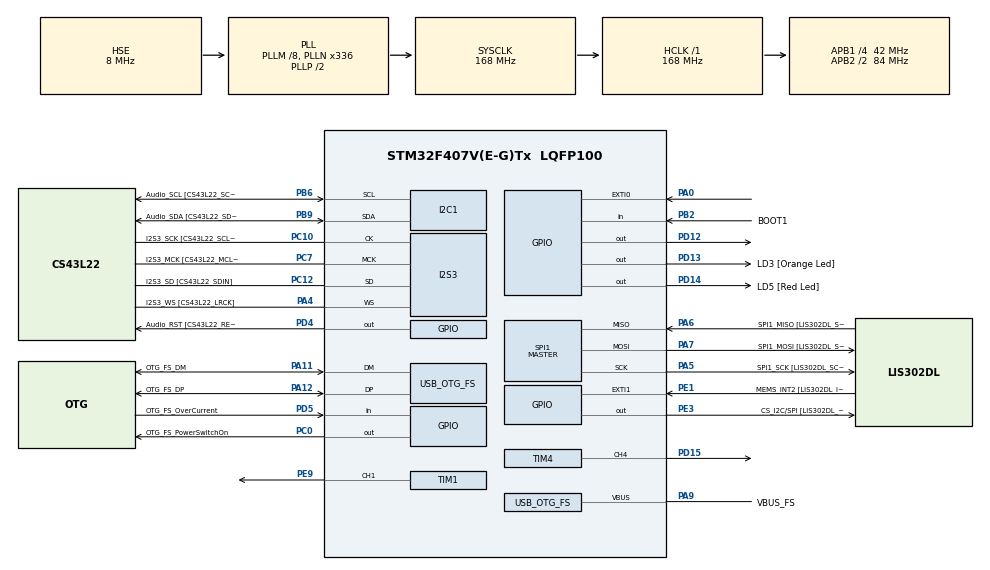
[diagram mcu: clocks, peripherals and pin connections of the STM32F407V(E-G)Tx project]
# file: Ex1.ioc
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Dma.Request0=TIM1_CH1
Dma.TIM1_CH1.0.Direction=DMA_MEMORY_TO_PERIPH
Dma.TIM1_CH1.0.FIFOMode=DMA_FIFOMODE_DISABLE
Dma.TIM1_CH1.0.Instance=DMA2_Stream1
Dma.TIM1_CH1.0.MemDataAlignment=DMA_MDATAALIGN_HALFWORD
Dma.TIM1_CH1.0.MemInc=DMA_MINC_ENABLE
Dma.TIM1_CH1.0.Mode=DMA_NORMAL
Dma.TIM1_CH1.0.PeriphDataAlignment=DMA_PDATAALIGN_HALFWORD
Dma.TIM1_CH1.0.PeriphInc=DMA_PINC_DISABLE
Dma.TIM1_CH1.0.Priority=DMA_PRIORITY_LOW
I2S3.AudioFreq-Half_Duplex_Master=I2S_AUDIOFREQ_96K
I2S3.ErrorAudioFreq=-2.34 %
I2S3.ErrorAudioFreq-Half_Duplex_Master=0.8 %
I2S3.FullDuplexMode=I2S_FULLDUPLEXMODE_DISABLE
I2S3.Instance=SPI$Index
I2S3.RealAudioFreq=93.75 KHz
I2S3.RealAudioFreq-Half_Duplex_Master=96.774 KHz
I2S3.VirtualMode=I2S_MODE_MASTER
Mcu.Family=STM32F4
Mcu.Name=STM32F407V(E-G)Tx
Mcu.Package=LQFP100
NVIC.DMA2_Stream1_IRQn=true\:0\:0\:false\:false\:true\:false\:true\:true
NVIC.EXTI0_IRQn=true\:0\:0\:true\:false\:true\:true\:true\:true
NVIC.OTG_FS_IRQn=true\:0\:0\:false\:false\:true\:true\:true\:true
NVIC.PriorityGroup=NVIC_PRIORITYGROUP_0
NVIC.TIM2_IRQn=true\:0\:0\:true\:false\:true\:true\:true\:true
PA0-WKUP.Signal=GPXTI0
PA10.GPIO_Label=OTG_FS_ID
PA10.GPIO_Mode=GPIO_MODE_AF_PP
PA10.GPIO_PuPd=GPIO_NOPULL
PA10.GPIO_Speed=GPIO_SPEED_FREQ_LOW
PA10.Signal=USB_OTG_FS_ID
PA11.GPIO_Label=OTG_FS_DM
PA11.GPIO_Mode=GPIO_MODE_AF_PP
PA11.GPIO_PuPd=GPIO_NOPULL
PA11.GPIO_Speed=GPIO_SPEED_FREQ_LOW
PA11.Mode=Host_Only
PA11.Signal=USB_OTG_FS_DM
PA12.GPIO_Label=OTG_FS_DP
PA12.GPIO_Mode=GPIO_MODE_AF_PP
PA12.GPIO_PuPd=GPIO_NOPULL
PA12.GPIO_Speed=GPIO_SPEED_FREQ_LOW
PA12.Mode=Host_Only
PA12.Signal=USB_OTG_FS_DP
PA13.GPIO_Label=SWDIO
PA13.Mode=Serial_Wire
PA13.Signal=SYS_JTMS-SWDIO
PA14.GPIO_Label=SWCLK
PA14.Mode=Serial_Wire
PA14.Signal=SYS_JTCK-SWCLK
PA4.GPIO_Label=I2S3_WS [CS43L22_LRCK]
PA4.GPIO_Mode=GPIO_MODE_AF_PP
PA4.GPIO_PuPd=GPIO_NOPULL
PA4.GPIO_Speed=GPIO_SPEED_FREQ_LOW
PA4.Mode=Half_Duplex_Master
PA4.Signal=I2S3_WS
PA5.GPIO_Label=SPI1_SCK [LIS302DL_SCL/SPC]
PA5.GPIO_Mode=GPIO_MODE_AF_PP
PA5.GPIO_PuPd=GPIO_NOPULL
PA5.GPIO_Speed=GPIO_SPEED_FREQ_LOW
PA5.Mode=Full_Duplex_Master
PA5.Signal=SPI1_SCK
PA6.GPIO_Label=SPI1_MISO [LIS302DL_SDO]
PA6.GPIO_Mode=GPIO_MODE_AF_PP
PA6.GPIO_PuPd=GPIO_NOPULL
PA6.GPIO_Speed=GPIO_SPEED_FREQ_LOW
PA6.Mode=Full_Duplex_Master
PA6.Signal=SPI1_MISO
PA7.GPIO_Label=SPI1_MOSI [LIS302DL_SDA/SDI/SDO]
PA7.GPIO_Mode=GPIO_MODE_AF_PP
PA7.GPIO_PuPd=GPIO_NOPULL
PA7.GPIO_Speed=GPIO_SPEED_FREQ_LOW
PA7.Mode=Full_Duplex_Master
PA7.Signal=SPI1_MOSI
PA9.GPIO_Label=VBUS_FS
PA9.GPIO_Mode=GPIO_MODE_INPUT
PA9.GPIO_PuPd=GPIO_NOPULL
PA9.Mode=Activate_VBUS
PA9.Signal=USB_OTG_FS_VBUS
PB10.GPIO_Label=CLK_IN [MP45DT02_CLK]
PB10.GPIO_Mode=GPIO_MODE_AF_PP
PB10.GPIO_PuPd=GPIO_NOPULL
PB10.GPIO_Speed=GPIO_SPEED_FREQ_LOW
PB10.Signal=I2S2_CK
PB2.GPIO_Label=BOOT1
PB2.GPIO_Mode=GPIO_MODE_INPUT
PB2.GPIO_PuPd=GPIO_NOPULL
PB2.Signal=GPIO_Input
PB3.GPIO_Label=SWO
PB3.Signal=SYS_JTDO-SWO
PB6.GPIO_Label=Audio_SCL [CS43L22_SCL]
PB6.GPIO_Mode=GPIO_MODE_AF_OD
PB6.GPIO_Pu=GPIO_PULLUP
PB6.GPIO_PuPd=GPIO_NOPULL
PB6.GPIO_Speed=GPIO_SPEED_FREQ_LOW
PB6.Mode=I2C
PB6.Signal=I2C1_SCL
PB9.GPIO_Label=Audio_SDA [CS43L22_SDA]
PB9.GPIO_Mode=GPIO_MODE_AF_OD
PB9.GPIO_Pu=GPIO_PULLUP
PB9.GPIO_PuPd=GPIO_NOPULL
PB9.GPIO_Speed=GPIO_SPEED_FREQ_LOW
PB9.Mode=I2C
PB9.Signal=I2C1_SDA
PC0.GPIO_Label=OTG_FS_PowerSwitchOn
PC0.GPIO_PuPd=GPIO_NOPULL
PC0.GPIO_Speed=GPIO_SPEED_FREQ_LOW
PC0.PinState=GPIO_PIN_SET
PC0.Signal=GPIO_Output
PC10.GPIO_Label=I2S3_SCK [CS43L22_SCLK]
PC10.GPIO_Mode=GPIO_MODE_AF_PP
PC10.GPIO_PuPd=GPIO_NOPULL
PC10.GPIO_Speed=GPIO_SPEED_FREQ_LOW
PC10.Mode=Half_Duplex_Master
PC10.Signal=I2S3_CK
PC12.GPIO_Label=I2S3_SD [CS43L22_SDIN]
PC12.GPIO_Mode=GPIO_MODE_AF_PP
PC12.GPIO_PuPd=GPIO_NOPULL
PC12.GPIO_Speed=GPIO_SPEED_FREQ_LOW
PC12.Mode=Half_Duplex_Master
PC12.Signal=I2S3_SD
PC14-OSC32_IN.GPIO_Label=PC14-OSC32_IN
PC14-OSC32_IN.Mode=LSE-External-Oscillator
PC14-OSC32_IN.Signal=RCC_OSC32_IN
PC15-OSC32_OUT.GPIO_Label=PC15-OSC32_OUT
PC15-OSC32_OUT.Mode=LSE-External-Oscillator
PC15-OSC32_OUT.Signal=RCC_OSC32_OUT
PC3.GPIO_Label=PDM_OUT [MP45DT02_DOUT]
PC3.GPIO_Mode=GPIO_MODE_AF_PP
PC3.GPIO_PuPd=GPIO_NOPULL
PC3.GPIO_Speed=GPIO_SPEED_FREQ_LOW
PC3.Signal=I2S2_SD
PC7.GPIO_Label=I2S3_MCK [CS43L22_MCLK]
PC7.GPIO_Mode=GPIO_MODE_AF_PP
PC7.GPIO_PuPd=GPIO_NOPULL
PC7.GPIO_Speed=GPIO_SPEED_FREQ_LOW
PC7.Mode=Master_Clock_Activated
PC7.Signal=I2S3_MCK
PD12.Signal=GPIO_Output
PD13.GPIO_Label=LD3 [Orange Led]
PD13.GPIO_PuPd=GPIO_NOPULL
PD13.GPIO_Speed=GPIO_SPEED_FREQ_LOW
PD13.Signal=GPIO_Output
PD14.GPIO_Label=LD5 [Red Led]
PD14.GPIO_PuPd=GPIO_NOPULL
PD14.GPIO_Speed=GPIO_SPEED_FREQ_LOW
PD14.Signal=GPIO_Output
PD15.Signal=S_TIM4_CH4
PD4.GPIO_Label=Audio_RST [CS43L22_RESET]
PD4.GPIO_PuPd=GPIO_NOPULL
PD4.GPIO_Speed=GPIO_SPEED_FREQ_LOW
PD4.Signal=GPIO_Output
PD5.GPIO_Label=OTG_FS_OverCurrent
PD5.GPIO_Mode=GPIO_MODE_INPUT
PD5.GPIO_PuPd=GPIO_NOPULL
PD5.Signal=GPIO_Input
PE1.GPIO_Label=MEMS_INT2 [LIS302DL_INT2]
PE1.GPIO_ModeDefaultEXTI=GPIO_MODE_EVT_RISING
PE1.GPIO_PuPd=GPIO_NOPULL
PE1.Signal=GPXTI1
PE3.GPIO_Label=CS_I2C/SPI [LIS302DL_CS_I2C/SPI]
PE3.GPIO_PuPd=GPIO_NOPULL
PE3.GPIO_Speed=GPIO_SPEED_FREQ_LOW
PE3.Signal=GPIO_Output
PE9.Signal=S_TIM1_CH1
PH0-OSC_IN.GPIO_Label=PH0-OSC_IN
PH0-OSC_IN.Mode=HSE-External-Oscillator
PH0-OSC_IN.Signal=RCC_OSC_IN
PH1-OSC_OUT.GPIO_Label=PH1-OSC_OUT
PH1-OSC_OUT.Mode=HSE-External-Oscillator
PH1-OSC_OUT.Signal=RCC_OSC_OUT
ProjectManager.HeapSize=0x200
ProjectManager.StackSize=0x400
ProjectManager.TargetToolchain=STM32CubeIDE
RCC.48MHZClocksFreq_Value=48000000
RCC.AHBFreq_Value=168000000
RCC.APB1CLKDivider=RCC_HCLK_DIV4
RCC.APB1Freq_Value=42000000
RCC.APB1TimFreq_Value=84000000
RCC.APB2CLKDivider=RCC_HCLK_DIV2
RCC.APB2Freq_Value=84000000
RCC.APB2TimFreq_Value=168000000
RCC.CortexFreq_Value=168000000
RCC.HCLKFreq_Value=168000000
RCC.HSE_VALUE=8000000
RCC.HSI_VALUE=16000000
RCC.PLLM=8
RCC.PLLN=336
RCC.PLLQ=7
RCC.SYSCLKFreq_VALUE=168000000
RCC.SYSCLKSource=RCC_SYSCLKSOURCE_PLLCLK
RCC.VCOOutputFreq_Value=336000000
SH.S_TIM1_CH1.0=TIM1_CH1,PWM Generation1 CH1
SH.S_TIM4_CH4.0=TIM4_CH4,PWM Generation4 CH4
SPI1.BaudRatePrescaler-Full_Duplex_Master=SPI_BAUDRATEPRESCALER_2
SPI1.CalculateBaudRate-Full_Duplex_Master=42.0 MBits/s
SPI1.Direction=SPI_DIRECTION_2LINES
SPI1.Mode=SPI_MODE_MASTER
SPI1.Mode-Full_Duplex_Master=SPI_MODE_MASTER
SPI1.VirtualType=VM_MASTER
TIM1.Channel-PWM\ Generation1\ CH1=TIM_CHANNEL_1
TIM1.Period=100 - 1
TIM1.Prescaler=84 - 1
TIM2.AutoReloadPreload=TIM_AUTORELOAD_PRELOAD_ENABLE
TIM2.Period=10000 - 1
TIM2.Prescaler=8
TIM4.Channel-PWM\ Generation4\ CH4=TIM_CHANNEL_4
TIM4.Period=100-1
TIM4.Prescaler=84-1
USB_HOST.BSP.number=1
USB_HOST.USBH_HandleTypeDef-CDC_FS=hUsbHostFS
USB_HOST.VirtualModeFS=Cdc
USB_HOST0.BSP.STBoard=false
USB_HOST0.BSP.api=Unknown
USB_HOST0.BSP.instance=PC0
USB_HOST0.BSP.ip=GPIO
USB_HOST0.BSP.mode=Output
USB_HOST0.BSP.name=Drive_VBUS_FS
USB_HOST0.BSP.solution=PC0
USB_OTG_FS.VirtualMode=Host_Only
USB_OTG_FS.phy_itface=HCD_PHY_EMBEDDED
VP_TIM1_VS_ClockSourceINT.Mode=Internal
VP_TIM2_VS_ClockSourceINT.Mode=Internal
VP_TIM4_VS_ClockSourceINT.Mode=Internal
VP_USB_HOST_VS_USB_HOST_CDC_FS.Mode=CDC_FS
board=STM32F407G-DISC1

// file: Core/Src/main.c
/* USER CODE BEGIN Header */
/**
  ******************************************************************************
  * @file           : main.c
  * @brief          : Main program body
  ******************************************************************************
  * @attention
  *
  * Copyright (c) 2024 STMicroelectronics.
  * All rights reserved.
  *
  * This software is licensed under terms that can be found in the LICENSE file
  * in the root directory of this software component.
  * If no LICENSE file comes with this software, it is provided AS-IS.
  *
  ******************************************************************************
  */
/* USER CODE END Header */
#include "main.h"
#include "usb_host.h"

/* USER CODE BEGIN Includes */
#include "ex1.h"
#include "ex2.h"
#include "ex3.h"
/* USER CODE END Includes */

I2C_HandleTypeDef hi2c1;

I2S_HandleTypeDef hi2s3;

SPI_HandleTypeDef hspi1;

TIM_HandleTypeDef htim1;
TIM_HandleTypeDef htim2;
TIM_HandleTypeDef htim4;
DMA_HandleTypeDef hdma_tim1_ch1;

void SystemClock_Config(void);
static void MX_GPIO_Init(void);
static void MX_DMA_Init(void);
static void MX_I2C1_Init(void);
static void MX_I2S3_Init(void);
static void MX_SPI1_Init(void);
static void MX_TIM2_Init(void);
static void MX_TIM1_Init(void);
static void MX_TIM4_Init(void);
void MX_USB_HOST_Process(void);

/* USER CODE BEGIN 0 */
uint16_t pwmData[10];
/* USER CODE END 0 */

int main(void)
{

  /* MCU Configuration--------------------------------------------------------*/

  /* Reset of all peripherals, Initializes the Flash interface and the Systick. */
  HAL_Init();

  /* Configure the system clock */
  SystemClock_Config();

  /* USER CODE BEGIN SysInit */
  HAL_Init();
  __HAL_RCC_TIM2_CLK_ENABLE();

  /* USER CODE END SysInit */

  /* Initialize all configured peripherals */
  MX_GPIO_Init();
  MX_DMA_Init();
  MX_I2C1_Init();
  MX_I2S3_Init();
  MX_SPI1_Init();
  MX_USB_HOST_Init();
  MX_TIM2_Init();
  MX_TIM1_Init();
  MX_TIM4_Init();
  /* USER CODE BEGIN 2 */

  //TIM1 ->CCR1 = 10;     // asta o sa fie exact cat e pwm-ul daca punem la configurare counter periodul pe 100-1 pentru ca formula e (CCR1/1000)*100
  //HAL_TIM_PWM_Start(&htim1,TIM_CHANNEL_1);

//  pwmData[0] = 10;
//  pwmData[1] = 20;
//  pwmData[2] = 30;
//  pwmData[3] = 40;
//  pwmData[4] = 50;
//  pwmData[5] = 60;                            /// asta e pentru generare de semnal cu pwm in crestere
//  pwmData[6] = 70;
//  pwmData[7] = 80;
//  pwmData[8] = 90;
//  pwmData[9] = 100;
//
//  HAL_TIM_PWM_Start_DMA(&htim1 , TIM_CHANNEL_1 , (uint32_t *) pwmData , 10);

  HAL_TIM_PWM_Start(&htim4,TIM_CHANNEL_4);

  // Start Timer
  HAL_TIM_Base_Start_IT(&htim2);

////////// functia este cu IT

  /* USER CODE END 2 */

  /* Infinite loop */
  while (1)
  {
    MX_USB_HOST_Process();

    /* USER CODE BEGIN 3 */

    for(int i = 0 ; i <100 ; i++)
    {
    	__HAL_TIM_SET_COMPARE(&htim4 , TIM_CHANNEL_4 , i);
    	HAL_Delay(5);
    }
    for(int i = 100 ; i >0 ; i--)
        {
        	__HAL_TIM_SET_COMPARE(&htim4 , TIM_CHANNEL_4 , i);
        	HAL_Delay(5);
        }

    //ex1();
    //ex2();
    //ex3();

  }
  /* USER CODE END 3 */
}

void SystemClock_Config(void)
{
  RCC_OscInitTypeDef RCC_OscInitStruct = {0};
  RCC_ClkInitTypeDef RCC_ClkInitStruct = {0};

  /** Configure the main internal regulator output voltage
  */
  __HAL_RCC_PWR_CLK_ENABLE();
  __HAL_PWR_VOLTAGESCALING_CONFIG(PWR_REGULATOR_VOLTAGE_SCALE1);

  /** Initializes the RCC Oscillators according to the specified parameters
  * in the RCC_OscInitTypeDef structure.
  */
  RCC_OscInitStruct.OscillatorType = RCC_OSCILLATORTYPE_HSE;
  RCC_OscInitStruct.HSEState = RCC_HSE_ON;
  RCC_OscInitStruct.PLL.PLLState = RCC_PLL_ON;
  RCC_OscInitStruct.PLL.PLLSource = RCC_PLLSOURCE_HSE;
  RCC_OscInitStruct.PLL.PLLM = 8;
  RCC_OscInitStruct.PLL.PLLN = 336;
  RCC_OscInitStruct.PLL.PLLP = RCC_PLLP_DIV2;
  RCC_OscInitStruct.PLL.PLLQ = 7;
  if (HAL_RCC_OscConfig(&RCC_OscInitStruct) != HAL_OK)
  {
    Error_Handler();
  }

  /** Initializes the CPU, AHB and APB buses clocks
  */
  RCC_ClkInitStruct.ClockType = RCC_CLOCKTYPE_HCLK|RCC_CLOCKTYPE_SYSCLK
                              |RCC_CLOCKTYPE_PCLK1|RCC_CLOCKTYPE_PCLK2;
  RCC_ClkInitStruct.SYSCLKSource = RCC_SYSCLKSOURCE_PLLCLK;
  RCC_ClkInitStruct.AHBCLKDivider = RCC_SYSCLK_DIV1;
  RCC_ClkInitStruct.APB1CLKDivider = RCC_HCLK_DIV4;
  RCC_ClkInitStruct.APB2CLKDivider = RCC_HCLK_DIV2;

  if (HAL_RCC_ClockConfig(&RCC_ClkInitStruct, FLASH_LATENCY_5) != HAL_OK)
  {
    Error_Handler();
  }
}

static void MX_I2C1_Init(void)
{

  hi2c1.Instance = I2C1;
  hi2c1.Init.ClockSpeed = 100000;
  hi2c1.Init.DutyCycle = I2C_DUTYCYCLE_2;
  hi2c1.Init.OwnAddress1 = 0;
  hi2c1.Init.AddressingMode = I2C_ADDRESSINGMODE_7BIT;
  hi2c1.Init.DualAddressMode = I2C_DUALADDRESS_DISABLE;
  hi2c1.Init.OwnAddress2 = 0;
  hi2c1.Init.GeneralCallMode = I2C_GENERALCALL_DISABLE;
  hi2c1.Init.NoStretchMode = I2C_NOSTRETCH_DISABLE;
  if (HAL_I2C_Init(&hi2c1) != HAL_OK)
  {
    Error_Handler();
  }

}

static void MX_I2S3_Init(void)
{

  hi2s3.Instance = SPI3;
  hi2s3.Init.Mode = I2S_MODE_MASTER_TX;
  hi2s3.Init.Standard = I2S_STANDARD_PHILIPS;
  hi2s3.Init.DataFormat = I2S_DATAFORMAT_16B;
  hi2s3.Init.MCLKOutput = I2S_MCLKOUTPUT_ENABLE;
  hi2s3.Init.AudioFreq = I2S_AUDIOFREQ_96K;
  hi2s3.Init.CPOL = I2S_CPOL_LOW;
  hi2s3.Init.ClockSource = I2S_CLOCK_PLL;
  hi2s3.Init.FullDuplexMode = I2S_FULLDUPLEXMODE_DISABLE;
  if (HAL_I2S_Init(&hi2s3) != HAL_OK)
  {
    Error_Handler();
  }

}

static void MX_SPI1_Init(void)
{

  /* SPI1 parameter configuration*/
  hspi1.Instance = SPI1;
  hspi1.Init.Mode = SPI_MODE_MASTER;
  hspi1.Init.Direction = SPI_DIRECTION_2LINES;
  hspi1.Init.DataSize = SPI_DATASIZE_8BIT;
  hspi1.Init.CLKPolarity = SPI_POLARITY_LOW;
  hspi1.Init.CLKPhase = SPI_PHASE_1EDGE;
  hspi1.Init.NSS = SPI_NSS_SOFT;
  hspi1.Init.BaudRatePrescaler = SPI_BAUDRATEPRESCALER_2;
  hspi1.Init.FirstBit = SPI_FIRSTBIT_MSB;
  hspi1.Init.TIMode = SPI_TIMODE_DISABLE;
  hspi1.Init.CRCCalculation = SPI_CRCCALCULATION_DISABLE;
  hspi1.Init.CRCPolynomial = 10;
  if (HAL_SPI_Init(&hspi1) != HAL_OK)
  {
    Error_Handler();
  }

}

static void MX_TIM1_Init(void)
{

  TIM_ClockConfigTypeDef sClockSourceConfig = {0};
  TIM_MasterConfigTypeDef sMasterConfig = {0};
  TIM_OC_InitTypeDef sConfigOC = {0};
  TIM_BreakDeadTimeConfigTypeDef sBreakDeadTimeConfig = {0};

  htim1.Instance = TIM1;
  htim1.Init.Prescaler = 84 - 1;
  htim1.Init.CounterMode = TIM_COUNTERMODE_UP;
  htim1.Init.Period = 100 - 1;
  htim1.Init.ClockDivision = TIM_CLOCKDIVISION_DIV1;
  htim1.Init.RepetitionCounter = 0;
  htim1.Init.AutoReloadPreload = TIM_AUTORELOAD_PRELOAD_DISABLE;
  if (HAL_TIM_Base_Init(&htim1) != HAL_OK)
  {
    Error_Handler();
  }
  sClockSourceConfig.ClockSource = TIM_CLOCKSOURCE_INTERNAL;
  if (HAL_TIM_ConfigClockSource(&htim1, &sClockSourceConfig) != HAL_OK)
  {
    Error_Handler();
  }
  if (HAL_TIM_PWM_Init(&htim1) != HAL_OK)
  {
    Error_Handler();
  }
  sMasterConfig.MasterOutputTrigger = TIM_TRGO_RESET;
  sMasterConfig.MasterSlaveMode = TIM_MASTERSLAVEMODE_DISABLE;
  if (HAL_TIMEx_MasterConfigSynchronization(&htim1, &sMasterConfig) != HAL_OK)
  {
    Error_Handler();
  }
  sConfigOC.OCMode = TIM_OCMODE_PWM1;
  sConfigOC.Pulse = 0;
  sConfigOC.OCPolarity = TIM_OCPOLARITY_HIGH;
  sConfigOC.OCNPolarity = TIM_OCNPOLARITY_HIGH;
  sConfigOC.OCFastMode = TIM_OCFAST_DISABLE;
  sConfigOC.OCIdleState = TIM_OCIDLESTATE_RESET;
  sConfigOC.OCNIdleState = TIM_OCNIDLESTATE_RESET;
  if (HAL_TIM_PWM_ConfigChannel(&htim1, &sConfigOC, TIM_CHANNEL_1) != HAL_OK)
  {
    Error_Handler();
  }
  sBreakDeadTimeConfig.OffStateRunMode = TIM_OSSR_DISABLE;
  sBreakDeadTimeConfig.OffStateIDLEMode = TIM_OSSI_DISABLE;
  sBreakDeadTimeConfig.LockLevel = TIM_LOCKLEVEL_OFF;
  sBreakDeadTimeConfig.DeadTime = 0;
  sBreakDeadTimeConfig.BreakState = TIM_BREAK_DISABLE;
  sBreakDeadTimeConfig.BreakPolarity = TIM_BREAKPOLARITY_HIGH;
  sBreakDeadTimeConfig.AutomaticOutput = TIM_AUTOMATICOUTPUT_DISABLE;
  if (HAL_TIMEx_ConfigBreakDeadTime(&htim1, &sBreakDeadTimeConfig) != HAL_OK)
  {
    Error_Handler();
  }
  HAL_TIM_MspPostInit(&htim1);

}

static void MX_TIM2_Init(void)
{

  TIM_ClockConfigTypeDef sClockSourceConfig = {0};
  TIM_MasterConfigTypeDef sMasterConfig = {0};

  htim2.Instance = TIM2;
  htim2.Init.Prescaler = 8;
  htim2.Init.CounterMode = TIM_COUNTERMODE_UP;
  htim2.Init.Period = 10000 - 1;
  htim2.Init.ClockDivision = TIM_CLOCKDIVISION_DIV1;
  htim2.Init.AutoReloadPreload = TIM_AUTORELOAD_PRELOAD_ENABLE;
  if (HAL_TIM_Base_Init(&htim2) != HAL_OK)
  {
    Error_Handler();
  }
  sClockSourceConfig.ClockSource = TIM_CLOCKSOURCE_INTERNAL;
  if (HAL_TIM_ConfigClockSource(&htim2, &sClockSourceConfig) != HAL_OK)
  {
    Error_Handler();
  }
  sMasterConfig.MasterOutputTrigger = TIM_TRGO_RESET;
  sMasterConfig.MasterSlaveMode = TIM_MASTERSLAVEMODE_DISABLE;
  if (HAL_TIMEx_MasterConfigSynchronization(&htim2, &sMasterConfig) != HAL_OK)
  {
    Error_Handler();
  }

}

static void MX_TIM4_Init(void)
{

  TIM_ClockConfigTypeDef sClockSourceConfig = {0};
  TIM_MasterConfigTypeDef sMasterConfig = {0};
  TIM_OC_InitTypeDef sConfigOC = {0};

  htim4.Instance = TIM4;
  htim4.Init.Prescaler = 84-1;
  htim4.Init.CounterMode = TIM_COUNTERMODE_UP;
  htim4.Init.Period = 100-1;
  htim4.Init.ClockDivision = TIM_CLOCKDIVISION_DIV1;
  htim4.Init.AutoReloadPreload = TIM_AUTORELOAD_PRELOAD_DISABLE;
  if (HAL_TIM_Base_Init(&htim4) != HAL_OK)
  {
    Error_Handler();
  }
  sClockSourceConfig.ClockSource = TIM_CLOCKSOURCE_INTERNAL;
  if (HAL_TIM_ConfigClockSource(&htim4, &sClockSourceConfig) != HAL_OK)
  {
    Error_Handler();
  }
  if (HAL_TIM_PWM_Init(&htim4) != HAL_OK)
  {
    Error_Handler();
  }
  sMasterConfig.MasterOutputTrigger = TIM_TRGO_RESET;
  sMasterConfig.MasterSlaveMode = TIM_MASTERSLAVEMODE_DISABLE;
  if (HAL_TIMEx_MasterConfigSynchronization(&htim4, &sMasterConfig) != HAL_OK)
  {
    Error_Handler();
  }
  sConfigOC.OCMode = TIM_OCMODE_PWM1;
  sConfigOC.Pulse = 0;
  sConfigOC.OCPolarity = TIM_OCPOLARITY_HIGH;
  sConfigOC.OCFastMode = TIM_OCFAST_DISABLE;
  if (HAL_TIM_PWM_ConfigChannel(&htim4, &sConfigOC, TIM_CHANNEL_4) != HAL_OK)
  {
    Error_Handler();
  }
  HAL_TIM_MspPostInit(&htim4);

}

static void MX_DMA_Init(void)
{

  /* DMA controller clock enable */
  __HAL_RCC_DMA2_CLK_ENABLE();

  /* DMA interrupt init */
  /* DMA2_Stream1_IRQn interrupt configuration */
  HAL_NVIC_SetPriority(DMA2_Stream1_IRQn, 0, 0);
  HAL_NVIC_EnableIRQ(DMA2_Stream1_IRQn);

}

static void MX_GPIO_Init(void)
{
  GPIO_InitTypeDef GPIO_InitStruct = {0};

  /* GPIO Ports Clock Enable */
  __HAL_RCC_GPIOE_CLK_ENABLE();
  __HAL_RCC_GPIOC_CLK_ENABLE();
  __HAL_RCC_GPIOH_CLK_ENABLE();
  __HAL_RCC_GPIOA_CLK_ENABLE();
  __HAL_RCC_GPIOB_CLK_ENABLE();
  __HAL_RCC_GPIOD_CLK_ENABLE();

  /*Configure GPIO pin Output Level */
  HAL_GPIO_WritePin(CS_I2C_SPI_GPIO_Port, CS_I2C_SPI_Pin, GPIO_PIN_RESET);

  /*Configure GPIO pin Output Level */
  HAL_GPIO_WritePin(OTG_FS_PowerSwitchOn_GPIO_Port, OTG_FS_PowerSwitchOn_Pin, GPIO_PIN_SET);

  /*Configure GPIO pin Output Level */
  HAL_GPIO_WritePin(GPIOD, GPIO_PIN_12|LD3_Pin|LD5_Pin|Audio_RST_Pin, GPIO_PIN_RESET);

  /*Configure GPIO pin : CS_I2C_SPI_Pin */
  GPIO_InitStruct.Pin = CS_I2C_SPI_Pin;
  GPIO_InitStruct.Mode = GPIO_MODE_OUTPUT_PP;
  GPIO_InitStruct.Pull = GPIO_NOPULL;
  GPIO_InitStruct.Speed = GPIO_SPEED_FREQ_LOW;
  HAL_GPIO_Init(CS_I2C_SPI_GPIO_Port, &GPIO_InitStruct);

  /*Configure GPIO pin : OTG_FS_PowerSwitchOn_Pin */
  GPIO_InitStruct.Pin = OTG_FS_PowerSwitchOn_Pin;
  GPIO_InitStruct.Mode = GPIO_MODE_OUTPUT_PP;
  GPIO_InitStruct.Pull = GPIO_NOPULL;
  GPIO_InitStruct.Speed = GPIO_SPEED_FREQ_LOW;
  HAL_GPIO_Init(OTG_FS_PowerSwitchOn_GPIO_Port, &GPIO_InitStruct);

  /*Configure GPIO pin : PDM_OUT_Pin */
  GPIO_InitStruct.Pin = PDM_OUT_Pin;
  GPIO_InitStruct.Mode = GPIO_MODE_AF_PP;
  GPIO_InitStruct.Pull = GPIO_NOPULL;
  GPIO_InitStruct.Speed = GPIO_SPEED_FREQ_LOW;
  GPIO_InitStruct.Alternate = GPIO_AF5_SPI2;
  HAL_GPIO_Init(PDM_OUT_GPIO_Port, &GPIO_InitStruct);

  /*Configure GPIO pin : PA0 */
  GPIO_InitStruct.Pin = GPIO_PIN_0;
  GPIO_InitStruct.Mode = GPIO_MODE_IT_RISING;
  GPIO_InitStruct.Pull = GPIO_NOPULL;
  HAL_GPIO_Init(GPIOA, &GPIO_InitStruct);

  /*Configure GPIO pin : BOOT1_Pin */
  GPIO_InitStruct.Pin = BOOT1_Pin;
  GPIO_InitStruct.Mode = GPIO_MODE_INPUT;
  GPIO_InitStruct.Pull = GPIO_NOPULL;
  HAL_GPIO_Init(BOOT1_GPIO_Port, &GPIO_InitStruct);

  /*Configure GPIO pin : CLK_IN_Pin */
  GPIO_InitStruct.Pin = CLK_IN_Pin;
  GPIO_InitStruct.Mode = GPIO_MODE_AF_PP;
  GPIO_InitStruct.Pull = GPIO_NOPULL;
  GPIO_InitStruct.Speed = GPIO_SPEED_FREQ_LOW;
  GPIO_InitStruct.Alternate = GPIO_AF5_SPI2;
  HAL_GPIO_Init(CLK_IN_GPIO_Port, &GPIO_InitStruct);

  /*Configure GPIO pins : PD12 LD3_Pin LD5_Pin Audio_RST_Pin */
  GPIO_InitStruct.Pin = GPIO_PIN_12|LD3_Pin|LD5_Pin|Audio_RST_Pin;
  GPIO_InitStruct.Mode = GPIO_MODE_OUTPUT_PP;
  GPIO_InitStruct.Pull = GPIO_NOPULL;
  GPIO_InitStruct.Speed = GPIO_SPEED_FREQ_LOW;
  HAL_GPIO_Init(GPIOD, &GPIO_InitStruct);

  /*Configure GPIO pin : OTG_FS_OverCurrent_Pin */
  GPIO_InitStruct.Pin = OTG_FS_OverCurrent_Pin;
  GPIO_InitStruct.Mode = GPIO_MODE_INPUT;
  GPIO_InitStruct.Pull = GPIO_NOPULL;
  HAL_GPIO_Init(OTG_FS_OverCurrent_GPIO_Port, &GPIO_InitStruct);

  /*Configure GPIO pin : MEMS_INT2_Pin */
  GPIO_InitStruct.Pin = MEMS_INT2_Pin;
  GPIO_InitStruct.Mode = GPIO_MODE_EVT_RISING;
  GPIO_InitStruct.Pull = GPIO_NOPULL;
  HAL_GPIO_Init(MEMS_INT2_GPIO_Port, &GPIO_InitStruct);

  /* EXTI interrupt init*/
  HAL_NVIC_SetPriority(EXTI0_IRQn, 0, 0);
  HAL_NVIC_EnableIRQ(EXTI0_IRQn);

}

/* USER CODE BEGIN 4 */
void HAL_TIM_PeriodElapsedCallback(TIM_HandleTypeDef *htim)
{
	if(htim == &htim2)
	{
//		HAL_GPIO_TogglePin(GPIOD , LD3_Pin);
//		HAL_GPIO_TogglePin(GPIOD , LD4_Pin);
//		HAL_GPIO_TogglePin(GPIOD , LD5_Pin);                 //pentru timer cu intrerupere
//		HAL_GPIO_TogglePin(GPIOD , LD6_Pin);
	}
}
/* USER CODE END 4 */

void Error_Handler(void)
{
  __disable_irq();
  while (1)
  {
  }
}
